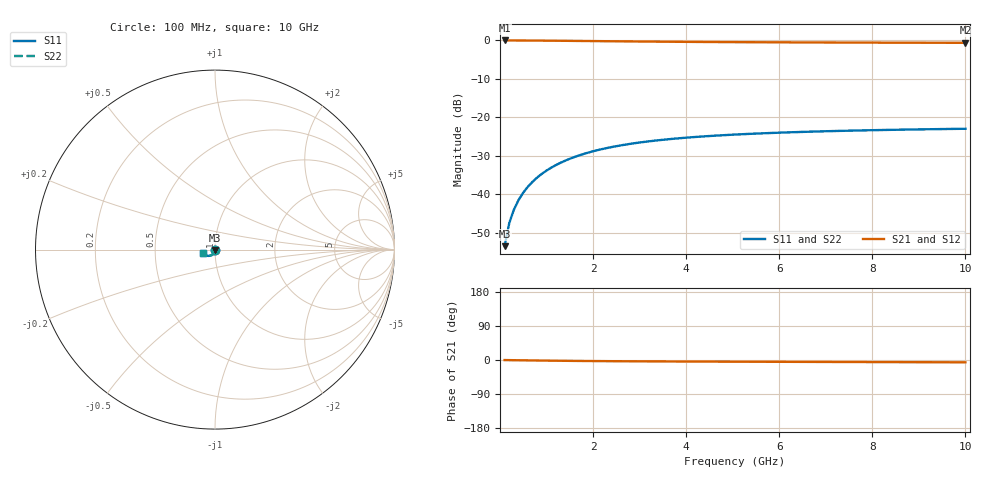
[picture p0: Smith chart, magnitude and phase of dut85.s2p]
! Touchstone file exported from HFSS 2024.1.0
!  File:  C:/UserFiles/LocalFiles/RDL_TSV_Batchsim/temp_TSV1_85_1779375408.aedt
!  Generated:  11:05:30 PM May 21, 2026
!  Design:  TSV1
!  Project:  temp_TSV1_85_1779375408
!  Setup:  Setup1
!  Solution:  Sweep
! Variables:
!  dtsv = 14.02um
!  hbump = 3um
!  htsv = 95.24um
!  lrdl = 252.1521522um
!  p = 40
!  p1 = 51.11um
!  t = 500um
!  trdl = 3um
!  wrdl = 24.89489489um
# GHz S MA R 50.000000
! Terminal data exported
! Port[1] = TSV22_T1
! Port[2] = TSV22_T2
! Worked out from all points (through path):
!   100 points, 100 MHz to 10 GHz, reference 50 ohm
!   highest |S21| = 0.00 dB at 100 MHz (marker M1); lowest = -0.6 dB at 10 GHz (marker M2)
!   lowest |S11| = -53.5 dB at 100 MHz (marker M3), VSWR 1.00, Z = 50 - j0.21 ohm
!   |S11| at or under -10 dB: start of sweep to end of sweep
!   |S22| runs from -53.5 to -23.0 dB; largest |S21 - S12| = 7e-15
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0.1  0.002104 -89.2  0.9998 -0.2  0.9998 -0.2  0.002104 -89.2
! Gamma 0 0 0 0
! Port Impedance 50 0 50 0
0.2  0.004206 -92.1  0.9996 -0.3  0.9996 -0.3  0.004206 -92.1
0.3  0.006305 -94.2  0.9993 -0.5  0.9993 -0.5  0.006305 -94.2
0.4  0.008391 -96.1  0.9988 -0.7  0.9988 -0.7  0.008391 -96.1
0.5  0.01046 -98.0  0.9982 -0.8  0.9982 -0.8  0.01046 -98.0
0.6  0.01249 -99.8  0.9976 -1.0  0.9976 -1.0  0.01249 -99.8
0.7  0.0145 -101.6  0.9968 -1.2  0.9968 -1.2  0.0145 -101.6
0.8  0.01646 -103.4  0.9959 -1.3  0.9959 -1.3  0.01646 -103.4
0.9  0.01838 -105.1  0.995 -1.5  0.995 -1.5  0.01838 -105.1
1.1  0.02208 -108.4  0.9929 -1.7  0.9929 -1.7  0.02208 -108.4
1.4  0.02725 -113.0  0.9893 -2.1  0.9893 -2.1  0.02725 -113.0
1.6  0.03042 -115.9  0.9867 -2.4  0.9867 -2.4  0.03042 -115.9
1.8  0.03337 -118.7  0.9841 -2.6  0.9841 -2.6  0.03337 -118.7
2.1  0.0374 -122.5  0.9801 -2.9  0.9801 -2.9  0.0374 -122.5
2.5  0.04208 -127.1  0.975 -3.2  0.975 -3.2  0.04208 -127.1
2.9  0.04607 -131.2  0.9701 -3.5  0.9701 -3.5  0.04607 -131.2
3.4  0.05024 -135.7  0.9646 -3.7  0.9646 -3.7  0.05024 -135.7
4.2  0.05546 -141.7  0.9572 -4.1  0.9572 -4.1  0.05546 -141.7
5.1  0.05981 -147.1  0.9505 -4.5  0.9505 -4.5  0.05981 -147.1
6.7  0.06508 -154.4  0.9419 -5.0  0.9419 -5.0  0.06508 -154.4
8.4  0.06866 -160.2  0.9358 -5.6  0.9358 -5.6  0.06866 -160.2
10  0.07093 -164.5  0.9318 -6.1  0.9318 -6.1  0.07093 -164.5
